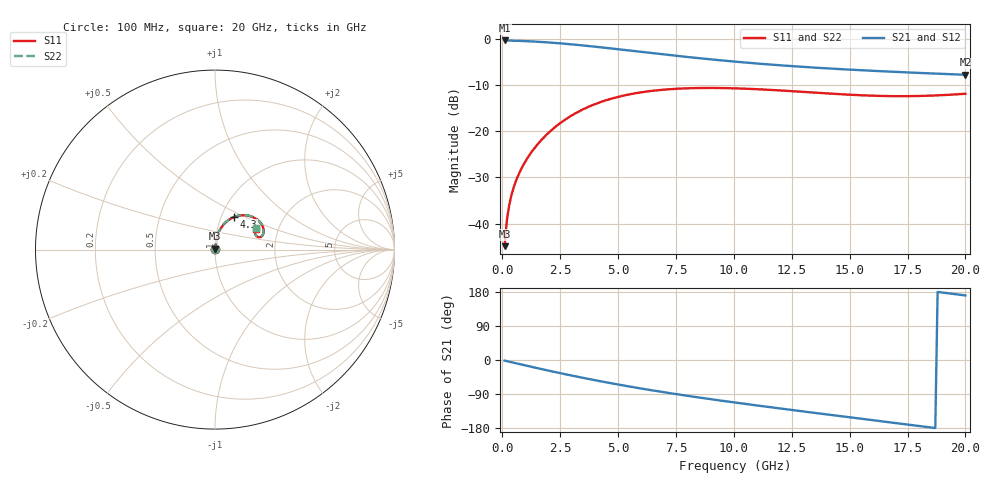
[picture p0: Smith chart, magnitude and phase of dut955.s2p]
! Touchstone file exported from HFSS 2024.1.0
!  File:  C:/UserFiles/LocalFiles/RDL_TSV_Batchsim/temp_RDL_TSV_955_1779966246.aedt
!  Generated:  07:20:12 PM May 28, 2026
!  Design:  RDL_TSV
!  Project:  temp_RDL_TSV_955_1779966246
!  Setup:  Setup1
!  Solution:  Sweep
! Variables:
!  dtsv = 5.11um
!  hbump = 3um
!  htsv = 55.67um
!  ldown = 635.94um
!  lrdl = 268.62um
!  p = 40
!  p1 = 46.62um
!  rhole = 10um
!  subl = 2982.3um
!  t = 450um
!  tdown = 2.46um
!  trdl = 4.09um
!  viad = 10um
!  wdown = 25.57um
!  wrdl = 23.62um
!  xbump = 18um
# GHz S MA R 50.000000
! Terminal data exported
! Port[1] = TM1_1_T1
! Port[2] = TM1_4_T1
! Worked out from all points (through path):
!   200 points, 100 MHz to 20 GHz, reference 50 ohm
!   highest |S21| = -0.28 dB at 100 MHz (marker M1); lowest = -7.7 dB at 20 GHz (marker M2)
!   group delay of S21, straight-line fit = 25.1 ps
!   lowest |S11| = -44.9 dB at 100 MHz (marker M3), VSWR 1.01, Z = 50.1 + j0.561 ohm
!   |S11| at or under -10 dB: start of sweep to end of sweep
!   |S22| runs from -45.1 to -10.6 dB; largest |S21 - S12| = 2e-14
!   S11 on the Smith chart (normalised r, x): 100 MHz: 1.00, +0.01; 4.3 GHz: 1.15, +0.44; 20 GHz: 1.53, +0.38
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0.1  0.005694 79.6  0.9679 -1.5  0.9679 -1.5  0.005586 80.5
! Gamma 0 0 0 0
! Port Impedance 50 0 50 0
0.2  0.01101 80.5  0.9667 -3.0  0.9667 -3.0  0.01081 81.1
0.3  0.01594 80.1  0.9653 -4.5  0.9653 -4.5  0.01566 80.5
0.4  0.02057 79.8  0.9637 -5.9  0.9637 -5.9  0.02021 80.2
0.5  0.02503 79.9  0.962 -7.3  0.962 -7.3  0.0246 80.2
0.7  0.03384 80.2  0.9585 -10.2  0.9585 -10.2  0.03327 80.6
1  0.04735 80.7  0.9522 -14.4  0.9522 -14.4  0.0466 81.2
1.5  0.07125 80.0  0.9384 -21.3  0.9384 -21.3  0.07032 80.6
2.1  0.1019 77.3  0.9171 -29.4  0.9171 -29.4  0.1009 78.0
2.8  0.1386 72.5  0.8871 -38.6  0.8871 -38.6  0.1377 73.2
3.5  0.174 66.7  0.8537 -47.3  0.8537 -47.3  0.1733 67.3
4.3  0.2102 59.6  0.8134 -56.8  0.8134 -56.8  0.2097 60.1
5.5  0.2523 49.3  0.7526 -70.1  0.7526 -70.1  0.2522 49.8
6.8  0.2807 39.5  0.6909 -83.3  0.6909 -83.3  0.2808 39.8
8.4  0.295 29.7  0.6253 -98.1  0.6253 -98.1  0.2952 30.0
10.1  0.2926 22.1  0.569 -112.6  0.569 -112.6  0.2929 22.3
11.7  0.2808 17.5  0.5274 -125.6  0.5274 -125.6  0.281 17.8
13.4  0.2641 15.5  0.4929 -138.8  0.4929 -138.8  0.2644 15.7
15  0.2498 16.3  0.4672 -151.2  0.4672 -151.2  0.2501 16.4
16.7  0.2413 19.4  0.445 -164.2  0.445 -164.2  0.2416 19.5
18.3  0.2431 23.4  0.4273 -176.5  0.4273 -176.5  0.2434 23.6
20  0.2558 27.2  0.4106 170.4  0.4106 170.4  0.2561 27.3
